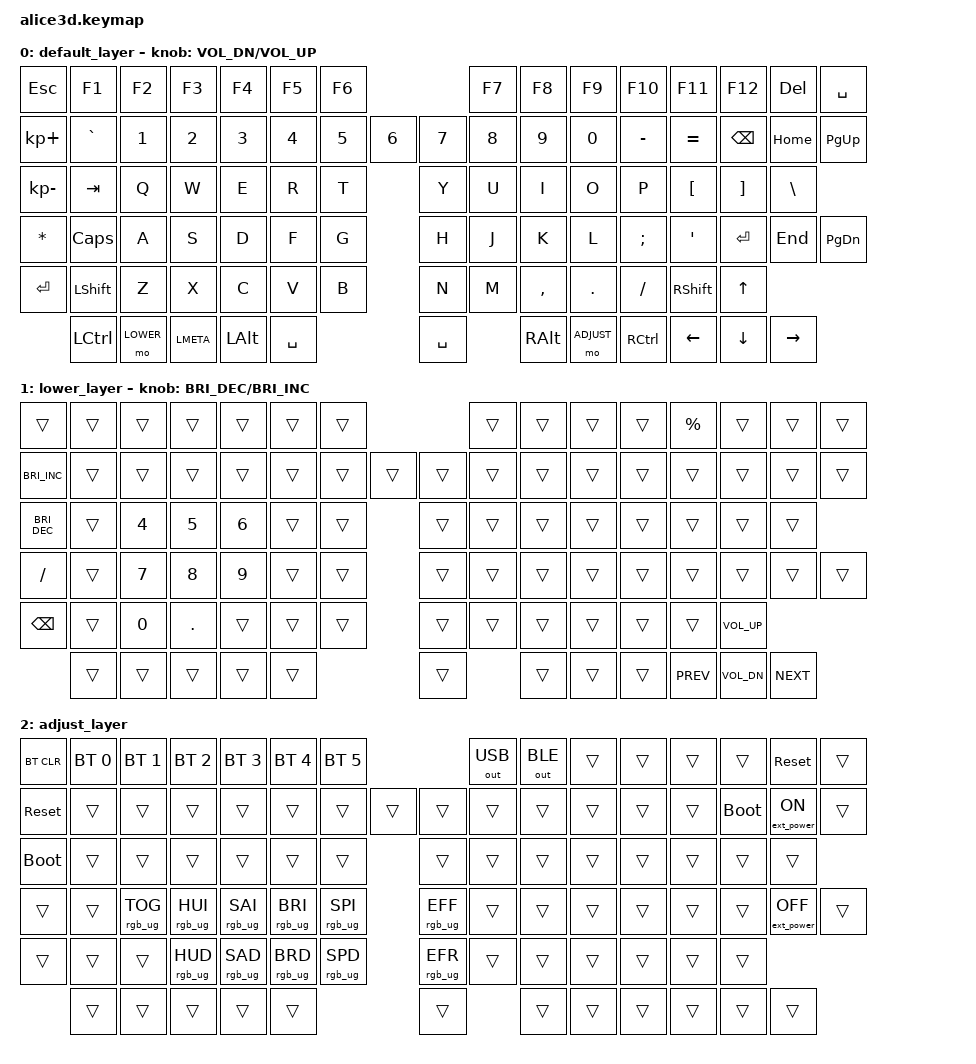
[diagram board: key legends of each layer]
/*
 * Copyright (c) 2020 The ZMK Contributors
 *
 * SPDX-License-Identifier: MIT
 */

#include <behaviors.dtsi>
#include <dt-bindings/zmk/keys.h>
#include <dt-bindings/zmk/bt.h>
#include <dt-bindings/zmk/outputs.h>
#include <dt-bindings/zmk/ext_power.h>
#include <dt-bindings/zmk/rgb.h>

#define DEFAULT 0
#define LOWER   1
#define ADJUST  2

/ {
    keymap {
        compatible = "zmk,keymap";

        default_layer {
            // | Esc   | Vol Up | Esc   | F1   | F2  | F3  | F4  | F5  | F6    | F5     | F6  | F7  | F8  | F9  | F10  | F11   | F12   | Del    |
            // | Home  | Vol Dn | `     | 1    | 2   | 3   | 4   | 5   | 6     | 5      | 6   | 7   | 8   | 9   | 0    | -     | =     | Bk Spc |
            // | End   | Tab    | Tab   | Q    | W   | E   | R   | T   | Y     | T      | Y   | U   | I   | O   | P    | [     | ]     | \      |
            // | Pg Up | Caps   | Ctrl  | A    | S   | D   | F   | G   | H     | G      | H   | J   | K   | L   | ;    | '     | Enter | Enter  |
            // | Pg Dn | Up     | Shift | Z    | X   | C   | V   | B   | N     | B      | N   | M   | ,   | .   | /    | Shift | Up    |        |
            // | Left  | Dn     | Right | Ctrl | Alt | Win | Spc | Spc | Enter | Bk Spc | Spc | Spc | Win | Alt | Ctrl | Left  | Dn    | Right  |
            sensor-bindings = <&inc_dec_kp C_VOL_DN C_VOL_UP>;
            bindings = <
            &kp ESC         &kp F1      &kp F2      &kp F3      &kp F4    &kp F5      &kp F6                        &kp F7    &kp F8      &kp F9      &kp F10       &kp F11     &kp F12     &kp DEL    &kp SPACE
            &kp KP_PLUS     &kp GRAVE   &kp N1      &kp N2      &kp N3    &kp N4      &kp N5   &kp N6    &kp N7     &kp N8    &kp N9      &kp N0      &kp MINUS     &kp EQUAL   &kp BSPC    &kp HOME   &kp PG_UP
            &kp KP_MINUS    &kp TAB     &kp Q       &kp W       &kp E     &kp R       &kp T              &kp Y      &kp U     &kp I       &kp O       &kp P         &kp LBKT    &kp RBKT    &kp BSLH
            &kp ASTERISK    &kp CAPS    &kp A       &kp S       &kp D     &kp F       &kp G              &kp H      &kp J     &kp K       &kp L       &kp SEMI      &kp APOS    &kp ENTER   &kp END    &kp PG_DN
            &kp ENTER       &kp LSHFT   &kp Z       &kp X       &kp C     &kp V       &kp B              &kp N      &kp M     &kp COMMA   &kp DOT     &kp SLASH     &kp RSHFT   &kp UP
                            &kp LCTRL   &mo LOWER   &kp LMETA   &kp LALT  &kp SPACE                      &kp SPACE            &kp RALT    &mo ADJUST  &kp RCTRL     &kp LEFT    &kp DOWN    &kp RIGHT
            >;
        };

        lower_layer {
            sensor-bindings = <&inc_dec_kp C_BRIGHTNESS_DEC C_BRIGHTNESS_INC>;
            bindings = <
            &trans                  &trans  &trans  &trans      &trans  &trans  &trans                  &trans  &trans  &trans  &trans  &kp PRCNT   &trans          &trans  &trans
            &kp C_BRIGHTNESS_INC    &trans  &trans  &trans      &trans  &trans  &trans  &trans  &trans  &trans  &trans  &trans  &trans  &trans      &trans          &trans  &trans
            &kp C_BRIGHTNESS_DEC    &trans  &kp N4  &kp N5      &kp N6  &trans  &trans          &trans  &trans  &trans  &trans  &trans  &trans      &trans          &trans
            &kp SLASH               &trans  &kp N7  &kp N8      &kp N9  &trans  &trans          &trans  &trans  &trans  &trans  &trans  &trans      &trans          &trans  &trans
            &kp BSPC                &trans  &kp N0  &kp DOT     &trans  &trans  &trans          &trans  &trans  &trans  &trans  &trans  &trans      &kp C_VOL_UP
                                    &trans  &trans  &trans      &trans  &trans                  &trans          &trans  &trans  &trans  &kp C_PREV  &kp C_VOL_DN    &kp C_NEXT
            >;
        };

        adjust_layer {
            bindings = <
            
            &bt BT_CLR  &bt BT_SEL 0    &bt BT_SEL 1    &bt BT_SEL 2    &bt BT_SEL 3    &bt BT_SEL 4    &bt BT_SEL 5                                &out OUT_USB  &out OUT_BLE  &trans  &trans  &trans  &trans          &sys_reset        &trans
            &sys_reset      &trans          &trans          &trans          &trans          &trans          &trans          &trans      &trans          &trans        &trans        &trans  &trans  &trans  &bootloader     &ext_power EP_ON  &trans
            &bootloader     &trans          &trans          &trans          &trans          &trans          &trans                      &trans          &trans        &trans        &trans  &trans  &trans  &trans          &trans
            &trans      &trans          &rgb_ug RGB_TOG &rgb_ug RGB_HUI &rgb_ug RGB_SAI &rgb_ug RGB_BRI &rgb_ug RGB_SPI             &rgb_ug RGB_EFF &trans        &trans        &trans  &trans  &trans  &trans          &ext_power EP_OFF &trans
            &trans      &trans          &trans          &rgb_ug RGB_HUD &rgb_ug RGB_SAD &rgb_ug RGB_BRD &rgb_ug RGB_SPD             &rgb_ug RGB_EFR &trans        &trans        &trans  &trans  &trans  &trans
                        &trans          &trans          &trans          &trans          &trans                                      &trans                        &trans        &trans  &trans  &trans  &trans          &trans
            >;
        };
    };
};
